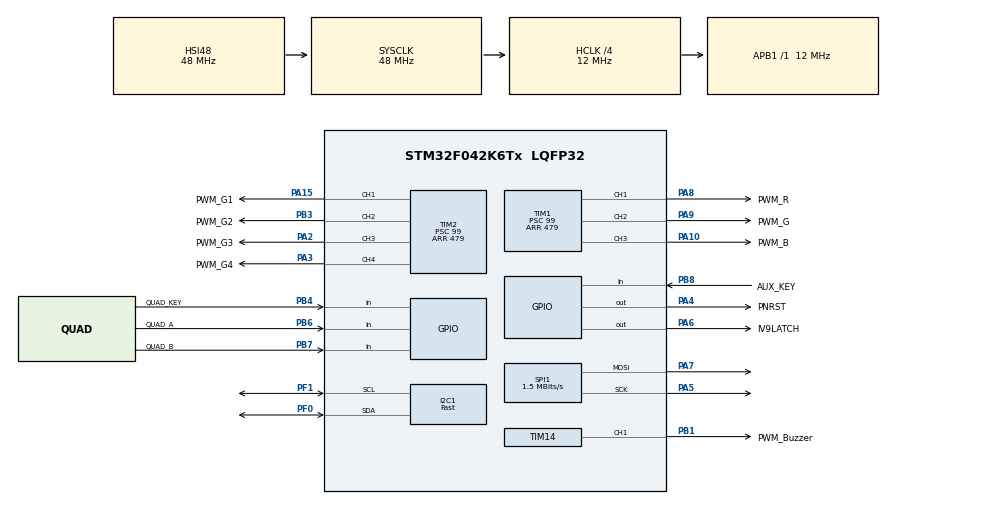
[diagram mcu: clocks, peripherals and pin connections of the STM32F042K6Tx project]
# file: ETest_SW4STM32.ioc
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Dma.Request0=SPI1_TX
Dma.SPI1_TX.0.Direction=DMA_MEMORY_TO_PERIPH
Dma.SPI1_TX.0.Instance=DMA1_Channel3
Dma.SPI1_TX.0.MemDataAlignment=DMA_MDATAALIGN_BYTE
Dma.SPI1_TX.0.MemInc=DMA_MINC_ENABLE
Dma.SPI1_TX.0.Mode=DMA_NORMAL
Dma.SPI1_TX.0.PeriphDataAlignment=DMA_PDATAALIGN_BYTE
Dma.SPI1_TX.0.PeriphInc=DMA_PINC_DISABLE
Dma.SPI1_TX.0.Priority=DMA_PRIORITY_MEDIUM
I2C1.I2C_Speed_Mode=I2C_Fast
I2C1.Timing=0x0000020B
Mcu.Family=STM32F0
Mcu.Name=STM32F042K6Tx
Mcu.Package=LQFP32
NVIC.DMA1_Channel2_3_IRQn=true\:0\:0\:false\:false\:false\:false
NVIC.TIM16_IRQn=true\:0\:0\:false\:false\:true\:true
NVIC.TIM17_IRQn=true\:0\:0\:false\:false\:true\:true
NVIC.TIM2_IRQn=true\:0\:0\:false\:false\:true\:true
PA10.GPIO_Label=PWM_B
PA10.GPIO_Speed=GPIO_SPEED_FREQ_HIGH
PA10.Signal=S_TIM1_CH3
PA13.Mode=Serial_Wire
PA13.Signal=SYS_SWDIO
PA14.Mode=Serial_Wire
PA14.Signal=SYS_SWCLK
PA15.GPIO_Label=PWM_G1
PA15.GPIO_Speed=GPIO_SPEED_FREQ_HIGH
PA15.Signal=S_TIM2_CH1_ETR
PA2.GPIO_Label=PWM_G3
PA2.GPIO_Speed=GPIO_SPEED_FREQ_HIGH
PA2.Signal=S_TIM2_CH3
PA3.GPIO_Label=PWM_G4
PA3.GPIO_Speed=GPIO_SPEED_FREQ_HIGH
PA3.Signal=S_TIM2_CH4
PA4.GPIO_Label=PNRST
PA4.GPIO_PuPd=GPIO_PULLUP
PA4.PinState=GPIO_PIN_SET
PA4.Signal=GPIO_Output
PA5.Mode=TX_Only_Simplex_Unidirect_Master
PA5.Signal=SPI1_SCK
PA6.GPIO_Label=IV9LATCH
PA6.GPIO_Speed=GPIO_SPEED_FREQ_HIGH
PA6.Signal=GPIO_Output
PA7.Mode=TX_Only_Simplex_Unidirect_Master
PA7.Signal=SPI1_MOSI
PA8.GPIO_Label=PWM_R
PA8.GPIO_Speed=GPIO_SPEED_FREQ_HIGH
PA8.Signal=S_TIM1_CH1
PA9.GPIO_Label=PWM_G
PA9.GPIO_Speed=GPIO_SPEED_FREQ_HIGH
PA9.Signal=S_TIM1_CH2
PB0.Signal=S_TIM3_CH3
PB1.GPIO_Label=PWM_Buzzer
PB1.GPIO_Speed=GPIO_SPEED_FREQ_MEDIUM
PB1.Signal=S_TIM14_CH1
PB3.GPIO_Label=PWM_G2
PB3.GPIO_Speed=GPIO_SPEED_FREQ_HIGH
PB3.Signal=S_TIM2_CH2
PB4.GPIO_Label=QUAD_KEY
PB4.GPIO_PuPd=GPIO_PULLDOWN
PB4.Signal=GPIO_Input
PB6.GPIO_Label=QUAD_A
PB6.GPIO_PuPd=GPIO_PULLDOWN
PB6.Signal=GPIO_Input
PB7.GPIO_Label=QUAD_B
PB7.GPIO_PuPd=GPIO_PULLDOWN
PB7.Signal=GPIO_Input
PB8.GPIO_Label=AUX_KEY
PB8.Signal=GPIO_Input
PF0-OSC_IN.GPIO_PuPdOD=GPIO_NOPULL
PF0-OSC_IN.Mode=I2C
PF0-OSC_IN.Signal=I2C1_SDA
PF1-OSC_OUT.GPIO_PuPdOD=GPIO_NOPULL
PF1-OSC_OUT.Mode=I2C
PF1-OSC_OUT.Signal=I2C1_SCL
ProjectManager.HeapSize=0x200
ProjectManager.StackSize=0x400
ProjectManager.TargetToolchain=SW4STM32
RCC.AHBCLKDivider=RCC_SYSCLK_DIV4
RCC.AHBFreq_Value=12000000
RCC.APB1Freq_Value=12000000
RCC.APB1TimFreq_Value=12000000
RCC.HCLKFreq_Value=12000000
RCC.PLLMUL=RCC_PLL_MUL3
RCC.SYSCLKFreq_VALUE=48000000
RCC.SYSCLKSource=RCC_SYSCLKSOURCE_HSI48
SH.S_TIM14_CH1.0=TIM14_CH1,PWM Generation1 CH1
SH.S_TIM1_CH1.0=TIM1_CH1,PWM Generation1 CH1
SH.S_TIM1_CH2.0=TIM1_CH2,PWM Generation2 CH2
SH.S_TIM1_CH3.0=TIM1_CH3,PWM Generation3 CH3
SH.S_TIM2_CH1_ETR.0=TIM2_CH1,PWM Generation1 CH1
SH.S_TIM2_CH2.0=TIM2_CH2,PWM Generation2 CH2
SH.S_TIM2_CH3.0=TIM2_CH3,PWM Generation3 CH3
SH.S_TIM2_CH4.0=TIM2_CH4,PWM Generation4 CH4
SH.S_TIM3_CH3.0=TIM3_CH3
SPI1.BaudRatePrescaler=SPI_BAUDRATEPRESCALER_8
SPI1.CalculateBaudRate=1.5 MBits/s
SPI1.DataSize=SPI_DATASIZE_8BIT
SPI1.Direction=SPI_DIRECTION_2LINES
SPI1.Mode=SPI_MODE_MASTER
SPI1.VirtualType=VM_MASTER
TIM1.Channel-PWM\ Generation1\ CH1=TIM_CHANNEL_1
TIM1.Channel-PWM\ Generation2\ CH2=TIM_CHANNEL_2
TIM1.Channel-PWM\ Generation3\ CH3=TIM_CHANNEL_3
TIM1.OCFastMode_PWM-PWM\ Generation1\ CH1=TIM_OCFAST_ENABLE
TIM1.OCFastMode_PWM-PWM\ Generation2\ CH2=TIM_OCFAST_ENABLE
TIM1.OCFastMode_PWM-PWM\ Generation3\ CH3=TIM_OCFAST_ENABLE
TIM1.Period=479
TIM1.Prescaler=99
TIM1.Pulse-PWM\ Generation1\ CH1=23
TIM1.Pulse-PWM\ Generation2\ CH2=23
TIM1.Pulse-PWM\ Generation3\ CH3=23
TIM14.AutoReloadPreload=TIM_AUTORELOAD_PRELOAD_DISABLE
TIM14.Channel=TIM_CHANNEL_1
TIM14.OCFastMode_PWM=TIM_OCFAST_ENABLE
TIM14.Period=47
TIM14.Prescaler=9
TIM14.Pulse=24
TIM16.AutoReloadPreload=TIM_AUTORELOAD_PRELOAD_ENABLE
TIM16.Period=24
TIM16.Prescaler=999
TIM2.Channel-PWM\ Generation1\ CH1=TIM_CHANNEL_1
TIM2.Channel-PWM\ Generation2\ CH2=TIM_CHANNEL_2
TIM2.Channel-PWM\ Generation3\ CH3=TIM_CHANNEL_3
TIM2.Channel-PWM\ Generation4\ CH4=TIM_CHANNEL_4
TIM2.OCFastMode_PWM-PWM\ Generation1\ CH1=TIM_OCFAST_ENABLE
TIM2.OCFastMode_PWM-PWM\ Generation2\ CH2=TIM_OCFAST_ENABLE
TIM2.OCFastMode_PWM-PWM\ Generation3\ CH3=TIM_OCFAST_ENABLE
TIM2.OCFastMode_PWM-PWM\ Generation4\ CH4=TIM_OCFAST_ENABLE
TIM2.OCPolarity_1=TIM_OCPOLARITY_LOW
TIM2.OCPolarity_2=TIM_OCPOLARITY_LOW
TIM2.OCPolarity_3=TIM_OCPOLARITY_LOW
TIM2.OCPolarity_4=TIM_OCPOLARITY_LOW
TIM2.Period=479
TIM2.Prescaler=99
TIM2.Pulse-PWM\ Generation1\ CH1=239
TIM2.Pulse-PWM\ Generation2\ CH2=239
TIM2.Pulse-PWM\ Generation3\ CH3=239
TIM2.Pulse-PWM\ Generation4\ CH4=239
VP_IWDG_VS_IWDG.Mode=IWDG_Activate
VP_TIM14_VS_ClockSourceINT.Mode=Enable_Timer
VP_TIM16_VS_ClockSourceINT.Mode=Enable_Timer
VP_TIM17_VS_ClockSourceINT.Mode=Enable_Timer
VP_TIM1_VS_ClockSourceINT.Mode=Internal
VP_TIM2_VS_ClockSourceINT.Mode=Internal
board=ETest_SW4STM32

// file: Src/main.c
/**
  ******************************************************************************
  * File Name          : main.c
  * Description        : Main program body
  ******************************************************************************
  ** This notice applies to any and all portions of this file
  * that are not between comment pairs USER CODE BEGIN and
  * USER CODE END. Other portions of this file, whether
  * inserted by the user or by software development tools
  * are owned by their respective copyright owners.
  *
  * COPYRIGHT(c) 2018 STMicroelectronics
  *
  * Redistribution and use in source and binary forms, with or without modification,
  * are permitted provided that the following conditions are met:
  *   1. Redistributions of source code must retain the above copyright notice,
  *      this list of conditions and the following disclaimer.
  *   2. Redistributions in binary form must reproduce the above copyright notice,
  *      this list of conditions and the following disclaimer in the documentation
  *      and/or other materials provided with the distribution.
  *   3. Neither the name of STMicroelectronics nor the names of its contributors
  *      may be used to endorse or promote products derived from this software
  *      without specific prior written permission.
  *
  * THIS SOFTWARE IS PROVIDED BY THE COPYRIGHT HOLDERS AND CONTRIBUTORS "AS IS"
  * AND ANY EXPRESS OR IMPLIED WARRANTIES, INCLUDING, BUT NOT LIMITED TO, THE
  * IMPLIED WARRANTIES OF MERCHANTABILITY AND FITNESS FOR A PARTICULAR PURPOSE ARE
  * DISCLAIMED. IN NO EVENT SHALL THE COPYRIGHT HOLDER OR CONTRIBUTORS BE LIABLE
  * FOR ANY DIRECT, INDIRECT, INCIDENTAL, SPECIAL, EXEMPLARY, OR CONSEQUENTIAL
  * DAMAGES (INCLUDING, BUT NOT LIMITED TO, PROCUREMENT OF SUBSTITUTE GOODS OR
  * SERVICES; LOSS OF USE, DATA, OR PROFITS; OR BUSINESS INTERRUPTION) HOWEVER
  * CAUSED AND ON ANY THEORY OF LIABILITY, WHETHER IN CONTRACT, STRICT LIABILITY,
  * OR TORT (INCLUDING NEGLIGENCE OR OTHERWISE) ARISING IN ANY WAY OUT OF THE USE
  * OF THIS SOFTWARE, EVEN IF ADVISED OF THE POSSIBILITY OF SUCH DAMAGE.
  *
  ******************************************************************************
  */

#include "main.h"
#include "stm32f0xx_hal.h"

/* USER CODE BEGIN Includes */
#define TOP
#include "gvar.h"
#include "BCG.h"
#include "flora_BSP.h"
#include "string.h"

// #include "app_eeprom.h"
/* USER CODE END Includes */

I2C_HandleTypeDef hi2c1;

IWDG_HandleTypeDef hiwdg;

SPI_HandleTypeDef hspi1;
DMA_HandleTypeDef hdma_spi1_tx;

TIM_HandleTypeDef htim1;
TIM_HandleTypeDef htim2;
TIM_HandleTypeDef htim14;
TIM_HandleTypeDef htim16;
TIM_HandleTypeDef htim17;

/* USER CODE BEGIN PV */
/* Private variables ---------------------------------------------------------*/
extern menu_t menu_l0_intro;

/* USER CODE END PV */

void SystemClock_Config(void);
static void MX_GPIO_Init(void);
static void MX_DMA_Init(void);
static void MX_TIM2_Init(void);
static void MX_TIM1_Init(void);
static void MX_I2C1_Init(void);
static void MX_TIM14_Init(void);
static void MX_TIM16_Init(void);
static void MX_TIM17_Init(void);
static void MX_SPI1_Init(void);
static void MX_IWDG_Init(void);

void HAL_TIM_MspPostInit(TIM_HandleTypeDef *htim);

/* USER CODE BEGIN PFP */
/* Private function prototypes -----------------------------------------------*/

/* USER CODE END PFP */

int main(void)
{

  /* MCU Configuration----------------------------------------------------------*/

  /* Reset of all peripherals, Initializes the Flash interface and the Systick. */
  HAL_Init();

  /* Configure the system clock */
  SystemClock_Config();

  /* Initialize all configured peripherals */
  MX_GPIO_Init();
  MX_DMA_Init();
  MX_TIM2_Init();
  MX_TIM1_Init();
  MX_I2C1_Init();
  MX_TIM14_Init();
  MX_TIM16_Init();
  MX_TIM17_Init();
  MX_SPI1_Init();
  MX_IWDG_Init();

  /* USER CODE BEGIN 2 */
  // EE_Init();
  // Reset Peripherals
  HAL_GPIO_WritePin(IV9LATCH_GPIO_Port, IV9LATCH_Pin, GPIO_PIN_RESET);
  HAL_GPIO_WritePin(PNRST_GPIO_Port, PNRST_Pin, GPIO_PIN_SET);
  HAL_GPIO_WritePin(PNRST_GPIO_Port, PNRST_Pin, GPIO_PIN_RESET);
  HAL_GPIO_WritePin(PNRST_GPIO_Port, PNRST_Pin, GPIO_PIN_SET);

  // Check status by verifying YEAR data from DS3231
  // If YEAR = 00, the DS3231 is hard reseted, which indicates a fresh power on
  DS3231_GetTime(&hi2c1, &g_time_reg, 0xFF);
  g_freshPON = g_time_reg.YEAR==0;

  if(g_freshPON){
	  DS3231_control_t DS3231_initInst;
	  DS3231_initInst.CTRL1 = 0;
	  DS3231_initInst.CTRL2_STAT = 0;
	  DS3231_Config(&hi2c1, &DS3231_initInst, 0xFF);

	  g_time_reg.YEAR=0x18;
	  DS3231_SetTime(&hi2c1, &g_time_reg,0xFF);
  }

  // Init with maximum brightness
	g_curScheme = 0;
	for(int i=0; i<4; i++)
		g_scheme_reg[g_curScheme].IV9_pValue[i] = IV9_PULSE_MAX;
	g_scheme_reg[g_curScheme].LED_pValue.R = RGB_PULSE_MAX;
	g_scheme_reg[g_curScheme].LED_pValue.G = RGB_PULSE_MAX/4;
	g_scheme_reg[g_curScheme].LED_pValue.B = 0;
	// The buzzer is disabled for this version
	// HAL_TIM_PWM_Start(&htim14, TIM_CHANNEL_1);

  HAL_TIM_PWM_Start(&htim1, TIM_CHANNEL_1);
  HAL_TIM_PWM_Start(&htim1, TIM_CHANNEL_2);
  HAL_TIM_PWM_Start(&htim1, TIM_CHANNEL_3);

  HAL_TIM_PWM_Start(&htim2, TIM_CHANNEL_1);
  HAL_TIM_PWM_Start(&htim2, TIM_CHANNEL_2);
  HAL_TIM_PWM_Start(&htim2, TIM_CHANNEL_3);
  HAL_TIM_PWM_Start(&htim2, TIM_CHANNEL_4);

  g_currentMenu = &menu_l0_intro;
  MFA_CALL(g_currentMenu, EVENT_ENTER, 0);

  // Start the core timer
  HAL_TIM_Base_Start_IT(&htim16);

  /* USER CODE END 2 */

  /* Infinite loop */
	while (1) {

  /* USER CODE BEGIN 3 */
	  	MFA_CALL(g_currentMenu, EVENT_LOOP, 0);			// Execute Loop Code
	  	HAL_IWDG_Refresh(&hiwdg);						// Feed the dog
	  	if(g_sysCfg&CONF_LPM_ENABLE){
			HAL_SuspendTick();
			HAL_PWR_EnterSLEEPMode(0, PWR_SLEEPENTRY_WFI);
			// Wait until another timer interrupt wakes it up
			__NOP();
			HAL_ResumeTick();
	  	}
  }
  /* USER CODE END 3 */

}

/** System Clock Configuration
*/
void SystemClock_Config(void)
{

  RCC_OscInitTypeDef RCC_OscInitStruct;
  RCC_ClkInitTypeDef RCC_ClkInitStruct;
  RCC_PeriphCLKInitTypeDef PeriphClkInit;

    /**Initializes the CPU, AHB and APB busses clocks
    */
  RCC_OscInitStruct.OscillatorType = RCC_OSCILLATORTYPE_HSI|RCC_OSCILLATORTYPE_HSI48
                              |RCC_OSCILLATORTYPE_LSI;
  RCC_OscInitStruct.HSIState = RCC_HSI_ON;
  RCC_OscInitStruct.HSI48State = RCC_HSI48_ON;
  RCC_OscInitStruct.HSICalibrationValue = 16;
  RCC_OscInitStruct.LSIState = RCC_LSI_ON;
  RCC_OscInitStruct.PLL.PLLState = RCC_PLL_NONE;
  if (HAL_RCC_OscConfig(&RCC_OscInitStruct) != HAL_OK)
  {
    _Error_Handler(__FILE__, __LINE__);
  }

    /**Initializes the CPU, AHB and APB busses clocks
    */
  RCC_ClkInitStruct.ClockType = RCC_CLOCKTYPE_HCLK|RCC_CLOCKTYPE_SYSCLK
                              |RCC_CLOCKTYPE_PCLK1;
  RCC_ClkInitStruct.SYSCLKSource = RCC_SYSCLKSOURCE_HSI48;
  RCC_ClkInitStruct.AHBCLKDivider = RCC_SYSCLK_DIV4;
  RCC_ClkInitStruct.APB1CLKDivider = RCC_HCLK_DIV1;

  if (HAL_RCC_ClockConfig(&RCC_ClkInitStruct, FLASH_LATENCY_0) != HAL_OK)
  {
    _Error_Handler(__FILE__, __LINE__);
  }

  PeriphClkInit.PeriphClockSelection = RCC_PERIPHCLK_I2C1;
  PeriphClkInit.I2c1ClockSelection = RCC_I2C1CLKSOURCE_HSI;
  if (HAL_RCCEx_PeriphCLKConfig(&PeriphClkInit) != HAL_OK)
  {
    _Error_Handler(__FILE__, __LINE__);
  }

    /**Configure the Systick interrupt time
    */
  HAL_SYSTICK_Config(HAL_RCC_GetHCLKFreq()/1000);

    /**Configure the Systick
    */
  HAL_SYSTICK_CLKSourceConfig(SYSTICK_CLKSOURCE_HCLK);

  /* SysTick_IRQn interrupt configuration */
  HAL_NVIC_SetPriority(SysTick_IRQn, 0, 0);
}

/* I2C1 init function */
static void MX_I2C1_Init(void)
{

  hi2c1.Instance = I2C1;
  hi2c1.Init.Timing = 0x0000020B;
  hi2c1.Init.OwnAddress1 = 0;
  hi2c1.Init.AddressingMode = I2C_ADDRESSINGMODE_7BIT;
  hi2c1.Init.DualAddressMode = I2C_DUALADDRESS_DISABLE;
  hi2c1.Init.OwnAddress2 = 0;
  hi2c1.Init.OwnAddress2Masks = I2C_OA2_NOMASK;
  hi2c1.Init.GeneralCallMode = I2C_GENERALCALL_DISABLE;
  hi2c1.Init.NoStretchMode = I2C_NOSTRETCH_DISABLE;
  if (HAL_I2C_Init(&hi2c1) != HAL_OK)
  {
    _Error_Handler(__FILE__, __LINE__);
  }

    /**Configure Analogue filter
    */
  if (HAL_I2CEx_ConfigAnalogFilter(&hi2c1, I2C_ANALOGFILTER_ENABLE) != HAL_OK)
  {
    _Error_Handler(__FILE__, __LINE__);
  }

    /**Configure Digital filter
    */
  if (HAL_I2CEx_ConfigDigitalFilter(&hi2c1, 0) != HAL_OK)
  {
    _Error_Handler(__FILE__, __LINE__);
  }

}

/* IWDG init function */
static void MX_IWDG_Init(void)
{

  hiwdg.Instance = IWDG;
  hiwdg.Init.Prescaler = IWDG_PRESCALER_4;
  hiwdg.Init.Window = 4095;
  hiwdg.Init.Reload = 4095;
  if (HAL_IWDG_Init(&hiwdg) != HAL_OK)
  {
    _Error_Handler(__FILE__, __LINE__);
  }

}

/* SPI1 init function */
static void MX_SPI1_Init(void)
{

  /* SPI1 parameter configuration*/
  hspi1.Instance = SPI1;
  hspi1.Init.Mode = SPI_MODE_MASTER;
  hspi1.Init.Direction = SPI_DIRECTION_2LINES;
  hspi1.Init.DataSize = SPI_DATASIZE_8BIT;
  hspi1.Init.CLKPolarity = SPI_POLARITY_LOW;
  hspi1.Init.CLKPhase = SPI_PHASE_1EDGE;
  hspi1.Init.NSS = SPI_NSS_SOFT;
  hspi1.Init.BaudRatePrescaler = SPI_BAUDRATEPRESCALER_8;
  hspi1.Init.FirstBit = SPI_FIRSTBIT_LSB;
  hspi1.Init.TIMode = SPI_TIMODE_DISABLE;
  hspi1.Init.CRCCalculation = SPI_CRCCALCULATION_DISABLE;
  hspi1.Init.CRCPolynomial = 7;
  hspi1.Init.CRCLength = SPI_CRC_LENGTH_DATASIZE;
  hspi1.Init.NSSPMode = SPI_NSS_PULSE_ENABLE;
  if (HAL_SPI_Init(&hspi1) != HAL_OK)
  {
    _Error_Handler(__FILE__, __LINE__);
  }

}

/* TIM1 init function */
static void MX_TIM1_Init(void)
{

  TIM_ClockConfigTypeDef sClockSourceConfig;
  TIM_MasterConfigTypeDef sMasterConfig;
  TIM_OC_InitTypeDef sConfigOC;
  TIM_BreakDeadTimeConfigTypeDef sBreakDeadTimeConfig;

  htim1.Instance = TIM1;
  htim1.Init.Prescaler = 4;
  htim1.Init.CounterMode = TIM_COUNTERMODE_UP;
  htim1.Init.Period = 479;
  htim1.Init.ClockDivision = TIM_CLOCKDIVISION_DIV1;
  htim1.Init.RepetitionCounter = 0;
  htim1.Init.AutoReloadPreload = TIM_AUTORELOAD_PRELOAD_DISABLE;
  if (HAL_TIM_Base_Init(&htim1) != HAL_OK)
  {
    _Error_Handler(__FILE__, __LINE__);
  }

  sClockSourceConfig.ClockSource = TIM_CLOCKSOURCE_INTERNAL;
  if (HAL_TIM_ConfigClockSource(&htim1, &sClockSourceConfig) != HAL_OK)
  {
    _Error_Handler(__FILE__, __LINE__);
  }

  if (HAL_TIM_PWM_Init(&htim1) != HAL_OK)
  {
    _Error_Handler(__FILE__, __LINE__);
  }

  sMasterConfig.MasterOutputTrigger = TIM_TRGO_RESET;
  sMasterConfig.MasterSlaveMode = TIM_MASTERSLAVEMODE_DISABLE;
  if (HAL_TIMEx_MasterConfigSynchronization(&htim1, &sMasterConfig) != HAL_OK)
  {
    _Error_Handler(__FILE__, __LINE__);
  }

  sConfigOC.OCMode = TIM_OCMODE_PWM1;
  sConfigOC.Pulse = 0;
  sConfigOC.OCPolarity = TIM_OCPOLARITY_HIGH;
  sConfigOC.OCNPolarity = TIM_OCNPOLARITY_HIGH;
  sConfigOC.OCFastMode = TIM_OCFAST_ENABLE;
  sConfigOC.OCIdleState = TIM_OCIDLESTATE_RESET;
  sConfigOC.OCNIdleState = TIM_OCNIDLESTATE_RESET;
  if (HAL_TIM_PWM_ConfigChannel(&htim1, &sConfigOC, TIM_CHANNEL_1) != HAL_OK)
  {
    _Error_Handler(__FILE__, __LINE__);
  }

  if (HAL_TIM_PWM_ConfigChannel(&htim1, &sConfigOC, TIM_CHANNEL_2) != HAL_OK)
  {
    _Error_Handler(__FILE__, __LINE__);
  }

  if (HAL_TIM_PWM_ConfigChannel(&htim1, &sConfigOC, TIM_CHANNEL_3) != HAL_OK)
  {
    _Error_Handler(__FILE__, __LINE__);
  }

  sBreakDeadTimeConfig.OffStateRunMode = TIM_OSSR_DISABLE;
  sBreakDeadTimeConfig.OffStateIDLEMode = TIM_OSSI_DISABLE;
  sBreakDeadTimeConfig.LockLevel = TIM_LOCKLEVEL_OFF;
  sBreakDeadTimeConfig.DeadTime = 0;
  sBreakDeadTimeConfig.BreakState = TIM_BREAK_DISABLE;
  sBreakDeadTimeConfig.BreakPolarity = TIM_BREAKPOLARITY_HIGH;
  sBreakDeadTimeConfig.AutomaticOutput = TIM_AUTOMATICOUTPUT_DISABLE;
  if (HAL_TIMEx_ConfigBreakDeadTime(&htim1, &sBreakDeadTimeConfig) != HAL_OK)
  {
    _Error_Handler(__FILE__, __LINE__);
  }

  HAL_TIM_MspPostInit(&htim1);

}

/* TIM2 init function */
static void MX_TIM2_Init(void)
{

  TIM_ClockConfigTypeDef sClockSourceConfig;
  TIM_MasterConfigTypeDef sMasterConfig;
  TIM_OC_InitTypeDef sConfigOC;

  htim2.Instance = TIM2;
  htim2.Init.Prescaler = 0;
  htim2.Init.CounterMode = TIM_COUNTERMODE_UP;
  htim2.Init.Period = 479;
  htim2.Init.ClockDivision = TIM_CLOCKDIVISION_DIV1;
  htim2.Init.AutoReloadPreload = TIM_AUTORELOAD_PRELOAD_DISABLE;
  if (HAL_TIM_Base_Init(&htim2) != HAL_OK)
  {
    _Error_Handler(__FILE__, __LINE__);
  }

  sClockSourceConfig.ClockSource = TIM_CLOCKSOURCE_INTERNAL;
  if (HAL_TIM_ConfigClockSource(&htim2, &sClockSourceConfig) != HAL_OK)
  {
    _Error_Handler(__FILE__, __LINE__);
  }

  if (HAL_TIM_PWM_Init(&htim2) != HAL_OK)
  {
    _Error_Handler(__FILE__, __LINE__);
  }

  sMasterConfig.MasterOutputTrigger = TIM_TRGO_RESET;
  sMasterConfig.MasterSlaveMode = TIM_MASTERSLAVEMODE_DISABLE;
  if (HAL_TIMEx_MasterConfigSynchronization(&htim2, &sMasterConfig) != HAL_OK)
  {
    _Error_Handler(__FILE__, __LINE__);
  }

  sConfigOC.OCMode = TIM_OCMODE_PWM1;
  sConfigOC.Pulse = 239;
  sConfigOC.OCPolarity = TIM_OCPOLARITY_LOW;
  sConfigOC.OCFastMode = TIM_OCFAST_ENABLE;
  if (HAL_TIM_PWM_ConfigChannel(&htim2, &sConfigOC, TIM_CHANNEL_1) != HAL_OK)
  {
    _Error_Handler(__FILE__, __LINE__);
  }

  if (HAL_TIM_PWM_ConfigChannel(&htim2, &sConfigOC, TIM_CHANNEL_2) != HAL_OK)
  {
    _Error_Handler(__FILE__, __LINE__);
  }

  if (HAL_TIM_PWM_ConfigChannel(&htim2, &sConfigOC, TIM_CHANNEL_3) != HAL_OK)
  {
    _Error_Handler(__FILE__, __LINE__);
  }

  if (HAL_TIM_PWM_ConfigChannel(&htim2, &sConfigOC, TIM_CHANNEL_4) != HAL_OK)
  {
    _Error_Handler(__FILE__, __LINE__);
  }

  HAL_TIM_MspPostInit(&htim2);

}

/* TIM14 init function */
static void MX_TIM14_Init(void)
{

  TIM_OC_InitTypeDef sConfigOC;

  htim14.Instance = TIM14;
  htim14.Init.Prescaler = 9;
  htim14.Init.CounterMode = TIM_COUNTERMODE_UP;
  htim14.Init.Period = 47;
  htim14.Init.ClockDivision = TIM_CLOCKDIVISION_DIV1;
  htim14.Init.AutoReloadPreload = TIM_AUTORELOAD_PRELOAD_DISABLE;
  if (HAL_TIM_Base_Init(&htim14) != HAL_OK)
  {
    _Error_Handler(__FILE__, __LINE__);
  }

  if (HAL_TIM_PWM_Init(&htim14) != HAL_OK)
  {
    _Error_Handler(__FILE__, __LINE__);
  }

  sConfigOC.OCMode = TIM_OCMODE_PWM1;
  sConfigOC.Pulse = 24;
  sConfigOC.OCPolarity = TIM_OCPOLARITY_HIGH;
  sConfigOC.OCFastMode = TIM_OCFAST_ENABLE;
  if (HAL_TIM_PWM_ConfigChannel(&htim14, &sConfigOC, TIM_CHANNEL_1) != HAL_OK)
  {
    _Error_Handler(__FILE__, __LINE__);
  }

  HAL_TIM_MspPostInit(&htim14);

}

/* TIM16 init function */
static void MX_TIM16_Init(void)
{

  htim16.Instance = TIM16;
  htim16.Init.Prescaler = 999;
  htim16.Init.CounterMode = TIM_COUNTERMODE_UP;
  htim16.Init.Period = 24;
  htim16.Init.ClockDivision = TIM_CLOCKDIVISION_DIV1;
  htim16.Init.RepetitionCounter = 0;
  htim16.Init.AutoReloadPreload = TIM_AUTORELOAD_PRELOAD_ENABLE;
  if (HAL_TIM_Base_Init(&htim16) != HAL_OK)
  {
    _Error_Handler(__FILE__, __LINE__);
  }

}

/* TIM17 init function */
static void MX_TIM17_Init(void)
{

  htim17.Instance = TIM17;
  htim17.Init.Prescaler = 0;
  htim17.Init.CounterMode = TIM_COUNTERMODE_UP;
  htim17.Init.Period = 0;
  htim17.Init.ClockDivision = TIM_CLOCKDIVISION_DIV1;
  htim17.Init.RepetitionCounter = 0;
  htim17.Init.AutoReloadPreload = TIM_AUTORELOAD_PRELOAD_DISABLE;
  if (HAL_TIM_Base_Init(&htim17) != HAL_OK)
  {
    _Error_Handler(__FILE__, __LINE__);
  }

}

static void MX_DMA_Init(void)
{
  /* DMA controller clock enable */
  __HAL_RCC_DMA1_CLK_ENABLE();

  /* DMA interrupt init */
  /* DMA1_Channel2_3_IRQn interrupt configuration */
  HAL_NVIC_SetPriority(DMA1_Channel2_3_IRQn, 0, 0);
  HAL_NVIC_EnableIRQ(DMA1_Channel2_3_IRQn);

}

/** Configure pins as
        * Analog
        * Input
        * Output
        * EVENT_OUT
        * EXTI
     PB0   ------> S_TIM3_CH3
*/
static void MX_GPIO_Init(void)
{

  GPIO_InitTypeDef GPIO_InitStruct;

  /* GPIO Ports Clock Enable */
  __HAL_RCC_GPIOF_CLK_ENABLE();
  __HAL_RCC_GPIOA_CLK_ENABLE();
  __HAL_RCC_GPIOB_CLK_ENABLE();

  /*Configure GPIO pin Output Level */
  HAL_GPIO_WritePin(PNRST_GPIO_Port, PNRST_Pin, GPIO_PIN_SET);

  /*Configure GPIO pin Output Level */
  HAL_GPIO_WritePin(IV9LATCH_GPIO_Port, IV9LATCH_Pin, GPIO_PIN_RESET);

  /*Configure GPIO pin : PNRST_Pin */
  GPIO_InitStruct.Pin = PNRST_Pin;
  GPIO_InitStruct.Mode = GPIO_MODE_OUTPUT_PP;
  GPIO_InitStruct.Pull = GPIO_PULLUP;
  GPIO_InitStruct.Speed = GPIO_SPEED_FREQ_LOW;
  HAL_GPIO_Init(PNRST_GPIO_Port, &GPIO_InitStruct);

  /*Configure GPIO pin : IV9LATCH_Pin */
  GPIO_InitStruct.Pin = IV9LATCH_Pin;
  GPIO_InitStruct.Mode = GPIO_MODE_OUTPUT_PP;
  GPIO_InitStruct.Pull = GPIO_NOPULL;
  GPIO_InitStruct.Speed = GPIO_SPEED_FREQ_HIGH;
  HAL_GPIO_Init(IV9LATCH_GPIO_Port, &GPIO_InitStruct);

  /*Configure GPIO pin : PB0 */
  GPIO_InitStruct.Pin = GPIO_PIN_0;
  GPIO_InitStruct.Mode = GPIO_MODE_AF_PP;
  GPIO_InitStruct.Pull = GPIO_NOPULL;
  GPIO_InitStruct.Speed = GPIO_SPEED_FREQ_LOW;
  GPIO_InitStruct.Alternate = GPIO_AF1_TIM3;
  HAL_GPIO_Init(GPIOB, &GPIO_InitStruct);

  /*Configure GPIO pins : QUAD_KEY_Pin QUAD_A_Pin QUAD_B_Pin */
  GPIO_InitStruct.Pin = QUAD_KEY_Pin|QUAD_A_Pin|QUAD_B_Pin;
  GPIO_InitStruct.Mode = GPIO_MODE_INPUT;
  GPIO_InitStruct.Pull = GPIO_PULLDOWN;
  HAL_GPIO_Init(GPIOB, &GPIO_InitStruct);

  /*Configure GPIO pin : AUX_KEY_Pin */
  GPIO_InitStruct.Pin = AUX_KEY_Pin;
  GPIO_InitStruct.Mode = GPIO_MODE_INPUT;
  GPIO_InitStruct.Pull = GPIO_NOPULL;
  HAL_GPIO_Init(AUX_KEY_GPIO_Port, &GPIO_InitStruct);

}

void _Error_Handler(char * file, int line)
{
  /* USER CODE BEGIN Error_Handler_Debug */
  /* User can add his own implementation to report the HAL error return state */
	NVIC_DisableIRQ(TIM16_IRQn);
	IV9_FastPWMSet(&htim2, B8(11111111), 239);
  while(1)
  {
	  memcpy(g_textBuffer, "!ERR", 4);
	  IV9_send(g_textBuffer,4,B8(00001111));
	  HAL_Delay(200);
	  memcpy(g_textBuffer, "    ", 4);
	  IV9_send(g_textBuffer,4,B8(00001111));
	  HAL_Delay(200);
  }
  /* USER CODE END Error_Handler_Debug */
}

/************************ (C) COPYRIGHT STMicroelectronics *****END OF FILE****/
